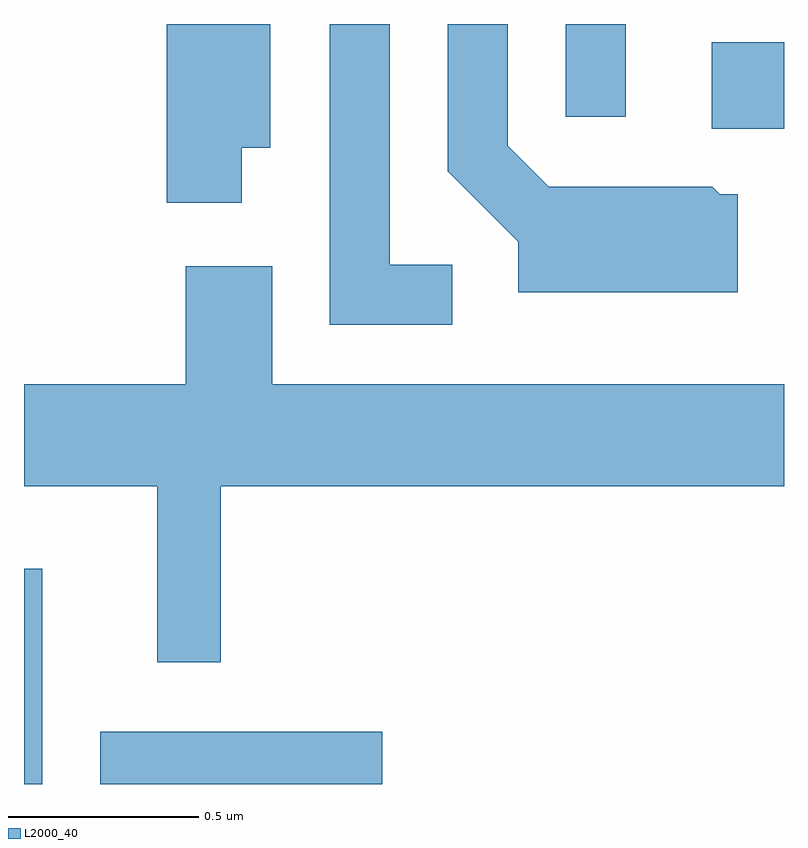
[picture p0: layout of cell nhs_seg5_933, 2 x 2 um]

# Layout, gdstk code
import gdstk
lib = gdstk.Library(unit=1e-6, precision=1e-09)
def R(c, l, rs):  # rectangles x0, y0, x1, y1
    for r in rs: c.add(gdstk.rectangle(r[:2], r[2:], *l))
def P(c, l, *ps):  # polygons
    for p in ps: c.add(gdstk.Polygon(p, *l))
L2000_40 = (2000, 40)

nhs_seg5_933 = lib.new_cell('nhs_seg5_933')
R(nhs_seg5_933, L2000_40, [(191.611,1507.072,191.659,1507.638), (191.811,1507.072,192.554,1507.209), (193.421,1508.796,193.611,1509.024), (193.036,1508.828,193.194,1509.072)])
P(nhs_seg5_933, L2000_40, [(193.489,1508.624),(193.442,1508.624),(193.422,1508.644),(192.992,1508.644),(192.884,1508.752),(192.884,1509.072),(192.726,1509.072),(192.726,1508.684),(192.911,1508.499),(192.911,1508.366),(193.489,1508.366)],
  [(192.738,1508.439),(192.574,1508.439),(192.574,1509.072),(192.416,1509.072),(192.416,1508.281),(192.738,1508.281)],
  [(192.184,1508.746),(192.259,1508.746),(192.259,1509.072),(191.986,1509.072),(191.986,1508.601),(192.184,1508.601)],
  [(192.129,1507.856),(193.611,1507.856),(193.611,1508.124),(192.264,1508.124),(192.264,1508.434),(192.036,1508.434),(192.036,1508.124),(191.611,1508.124),(191.611,1507.856),(191.961,1507.856),(191.961,1507.393),(192.129,1507.393)])

lib.write_gds('nhs_seg5_933.gds')
